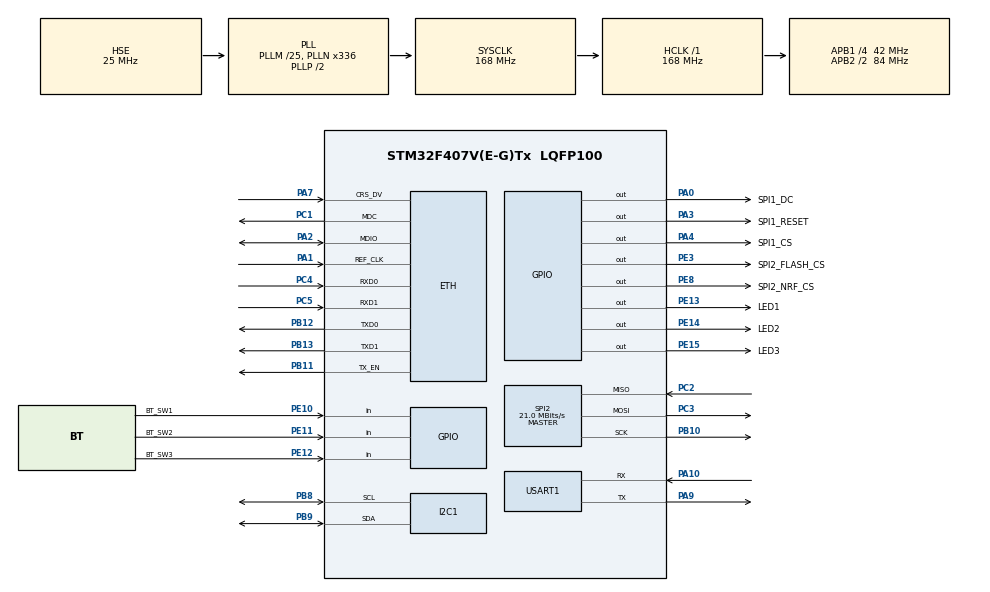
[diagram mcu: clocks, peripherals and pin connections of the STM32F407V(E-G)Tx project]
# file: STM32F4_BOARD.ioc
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ETH.MACAddr=02\:00\:00\:A1\:B2\:C3
ETH.MediaInterface=HAL_ETH_RMII_MODE
FREERTOS.Queues01=menuQueue,6,MenuData_t,0,Dynamic,NULL,NULL
FREERTOS.Tasks01=ethernetStatusT,0,1024,EthernetStatusTask,Default,NULL,Dynamic,NULL,NULL;buttonsTask,-1,1024,ButtonsTask,Default,NULL,Dynamic,NULL,NULL;ledsTask,-3,512,LedsTask,Default,operationMode,Dynamic,NULL,NULL
FREERTOS.configTOTAL_HEAP_SIZE=45000
FREERTOS.configUSE_NEWLIB_REENTRANT=1
FREERTOS.configUSE_TIMERS=1
I2C1.I2C_Mode=I2C_Fast
LWIP.BSP.number=1
LWIP.GATEWAY_ADDRESS=192.168.002.001
LWIP.IP_ADDRESS=192.168.002.125
LWIP.LWIP_DHCP=0
LWIP.LWIP_DNS=1
LWIP.LWIP_SMTP=0
LWIP.LWIP_SNTP=0
LWIP.LWIP_SO_RCVTIMEO=1
LWIP.LWIP_SO_SNDRCVTIMEO_NONSTANDARD=0
LWIP.LWIP_TCP_KEEPALIVE=1
LWIP.LWIP_UDP=1
LWIP.MEMP_NUM_TCP_PCB=6
LWIP.MEMP_NUM_UDP_PCB=6
LWIP.MEM_SIZE=2048
LWIP.NETMASK_ADDRESS=255.255.255.000
LWIP.SO_REUSE=1
LWIP.Version=v2.1.2_Cube
LWIP0.BSP.STBoard=false
LWIP0.BSP.api=BSP_COMPONENT_DRIVER
LWIP0.BSP.component=DP83848
LWIP0.BSP.instance=DP83848
LWIP0.BSP.name=Driver_PHY
LWIP0.BSP.semaphore=S_DP83848
LWIP0.BSP.solution=DP83848
Mcu.Family=STM32F4
Mcu.Name=STM32F407V(E-G)Tx
Mcu.Package=LQFP100
NVIC.ETH_IRQn=true\:5\:0\:false\:false\:true\:true\:true\:true\:true
NVIC.PriorityGroup=NVIC_PRIORITYGROUP_4
NVIC.TIM8_TRG_COM_TIM14_IRQn=true\:15\:0\:false\:false\:true\:false\:false\:true\:true
NVIC.TimeBase=TIM8_TRG_COM_TIM14_IRQn
NVIC.TimeBaseIP=TIM14
PA0-WKUP.GPIO_Label=SPI1_DC
PA0-WKUP.Signal=GPIO_Output
PA1.Mode=RMII
PA1.Signal=ETH_REF_CLK
PA10.Mode=Asynchronous
PA10.Signal=USART1_RX
PA2.Mode=RMII
PA2.Signal=ETH_MDIO
PA3.GPIO_Label=SPI1_RESET
PA3.Signal=GPIO_Output
PA4.GPIO_Label=SPI1_CS
PA4.Signal=GPIO_Output
PA7.Mode=RMII
PA7.Signal=ETH_CRS_DV
PA9.Mode=Asynchronous
PA9.Signal=USART1_TX
PB10.Mode=Full_Duplex_Master
PB10.Signal=SPI2_SCK
PB11.Mode=RMII
PB11.Signal=ETH_TX_EN
PB12.Mode=RMII
PB12.Signal=ETH_TXD0
PB13.Mode=RMII
PB13.Signal=ETH_TXD1
PB8.Mode=I2C
PB8.Signal=I2C1_SCL
PB9.Mode=I2C
PB9.Signal=I2C1_SDA
PC1.Mode=RMII
PC1.Signal=ETH_MDC
PC14-OSC32_IN.Mode=LSE-External-Oscillator
PC14-OSC32_IN.Signal=RCC_OSC32_IN
PC15-OSC32_OUT.Mode=LSE-External-Oscillator
PC15-OSC32_OUT.Signal=RCC_OSC32_OUT
PC2.Mode=Full_Duplex_Master
PC2.Signal=SPI2_MISO
PC3.Mode=Full_Duplex_Master
PC3.Signal=SPI2_MOSI
PC4.Mode=RMII
PC4.Signal=ETH_RXD0
PC5.Mode=RMII
PC5.Signal=ETH_RXD1
PE10.GPIO_Label=BT_SW1
PE10.Signal=GPIO_Input
PE11.GPIO_Label=BT_SW2
PE11.Signal=GPIO_Input
PE12.GPIO_Label=BT_SW3
PE12.Signal=GPIO_Input
PE13.GPIO_Label=LED1
PE13.PinState=GPIO_PIN_SET
PE13.Signal=GPIO_Output
PE14.GPIO_Label=LED2
PE14.PinState=GPIO_PIN_SET
PE14.Signal=GPIO_Output
PE15.GPIO_Label=LED3
PE15.PinState=GPIO_PIN_SET
PE15.Signal=GPIO_Output
PE3.GPIO_Label=SPI2_FLASH_CS
PE3.Signal=GPIO_Output
PE8.GPIO_Label=SPI2_NRF_CS
PE8.Signal=GPIO_Output
PH0-OSC_IN.Mode=HSE-External-Oscillator
PH0-OSC_IN.Signal=RCC_OSC_IN
PH1-OSC_OUT.Mode=HSE-External-Oscillator
PH1-OSC_OUT.Signal=RCC_OSC_OUT
ProjectManager.HeapSize=0x200
ProjectManager.StackSize=0x400
ProjectManager.TargetToolchain=STM32CubeIDE
RCC.48MHZClocksFreq_Value=84000000
RCC.AHBFreq_Value=168000000
RCC.APB1CLKDivider=RCC_HCLK_DIV4
RCC.APB1Freq_Value=42000000
RCC.APB1TimFreq_Value=84000000
RCC.APB2CLKDivider=RCC_HCLK_DIV2
RCC.APB2Freq_Value=84000000
RCC.APB2TimFreq_Value=168000000
RCC.CortexFreq_Value=168000000
RCC.HCLKFreq_Value=168000000
RCC.HSE_VALUE=25000000
RCC.HSI_VALUE=16000000
RCC.PLLM=25
RCC.PLLN=336
RCC.PLLSourceVirtual=RCC_PLLSOURCE_HSE
RCC.RCC_RTC_Clock_Source=RCC_RTCCLKSOURCE_LSE
RCC.SYSCLKFreq_VALUE=168000000
RCC.SYSCLKSource=RCC_SYSCLKSOURCE_PLLCLK
RCC.VCOOutputFreq_Value=336000000
SPI2.BaudRatePrescaler=SPI_BAUDRATEPRESCALER_2
SPI2.CalculateBaudRate=21.0 MBits/s
SPI2.Direction=SPI_DIRECTION_2LINES
SPI2.Mode=SPI_MODE_MASTER
SPI2.VirtualType=VM_MASTER
USART1.VirtualMode=VM_ASYNC
VP_FREERTOS_VS_CMSIS_V1.Mode=CMSIS_V1
VP_LWIP_VS_Enabled.Mode=Enabled
VP_RTC_VS_RTC_Activate.Mode=RTC_Enabled
VP_SYS_VS_tim14.Mode=TIM14
board=custom

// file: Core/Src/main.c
/* USER CODE BEGIN Header */
/**
  ******************************************************************************
  * @file           : main.c
  * @brief          : Main program body
  ******************************************************************************
  * @attention
  *
  * Copyright (c) 2024 STMicroelectronics.
  * All rights reserved.
  *
  * This software is licensed under terms that can be found in the LICENSE file
  * in the root directory of this software component.
  * If no LICENSE file comes with this software, it is provided AS-IS.
  *
  ******************************************************************************
  */
/* USER CODE END Header */
#include "main.h"
#include "cmsis_os.h"
#include "i2c.h"
#include "lwip.h"
#include "rtc.h"
#include "spi.h"
#include "usart.h"
#include "gpio.h"

/* USER CODE BEGIN Includes */
#include "FileSystemAPI.h"
#include "lfs_w25qflash.h"
#include "modbus_server.h"
#include "cfg_files.h"
#include "ssd1306.h"
#include "AdapterSSD1306.h"
#include "logger.h"
#include "sntp_client.h"
#include "datetime.h"

/* USER CODE END Includes */

/* USER CODE BEGIN PV */
TOperationMode operationMode = {0};

uint16_t initTimeou = 0;

/* USER CODE END PV */

void SystemClock_Config(void);
void MX_FREERTOS_Init(void);

int main(void)
{

  /* MCU Configuration----
   * ----------------------------------------------------*/

  /* Reset of all peripherals, Initializes the Flash interface and the Systick. */
  HAL_Init();

  /* Configure the system clock */
  SystemClock_Config();

  /* Initialize all configured peripherals */
  MX_GPIO_Init();
  MX_SPI2_Init();
  MX_USART1_UART_Init();
  MX_I2C1_Init();
  MX_RTC_Init();

  /* USER CODE BEGIN 2 */
  HorusIhmInit();
  FileSystemInit();
  CfgFilesInit();
  Log_initModule(DateTimeGetString);
  ModbusInit();
  AdapterSSD1306_Init();
  SntpClientInit();

  /* USER CODE END 2 */

  /* Call init function for freertos objects (in freertos.c) */
  MX_FREERTOS_Init();

  /* Start scheduler */
  osKernelStart();

  /* We should never get here as control is now taken by the scheduler */
  /* Infinite loop */
  while (1)
  {

  }
}

void SystemClock_Config(void)
{
  RCC_OscInitTypeDef RCC_OscInitStruct = {0};
  RCC_ClkInitTypeDef RCC_ClkInitStruct = {0};

  /** Configure the main internal regulator output voltage
  */
  __HAL_RCC_PWR_CLK_ENABLE();
  __HAL_PWR_VOLTAGESCALING_CONFIG(PWR_REGULATOR_VOLTAGE_SCALE1);

  /** Initializes the RCC Oscillators according to the specified parameters
  * in the RCC_OscInitTypeDef structure.
  */
  RCC_OscInitStruct.OscillatorType = RCC_OSCILLATORTYPE_HSE|RCC_OSCILLATORTYPE_LSE;
  RCC_OscInitStruct.HSEState = RCC_HSE_ON;
  RCC_OscInitStruct.LSEState = RCC_LSE_ON;
  RCC_OscInitStruct.PLL.PLLState = RCC_PLL_ON;
  RCC_OscInitStruct.PLL.PLLSource = RCC_PLLSOURCE_HSE;
  RCC_OscInitStruct.PLL.PLLM = 25;
  RCC_OscInitStruct.PLL.PLLN = 336;
  RCC_OscInitStruct.PLL.PLLP = RCC_PLLP_DIV2;
  RCC_OscInitStruct.PLL.PLLQ = 4;
  if (HAL_RCC_OscConfig(&RCC_OscInitStruct) != HAL_OK)
  {
    Error_Handler();
  }

  /** Initializes the CPU, AHB and APB buses clocks
  */
  RCC_ClkInitStruct.ClockType = RCC_CLOCKTYPE_HCLK|RCC_CLOCKTYPE_SYSCLK
                              |RCC_CLOCKTYPE_PCLK1|RCC_CLOCKTYPE_PCLK2;
  RCC_ClkInitStruct.SYSCLKSource = RCC_SYSCLKSOURCE_PLLCLK;
  RCC_ClkInitStruct.AHBCLKDivider = RCC_SYSCLK_DIV1;
  RCC_ClkInitStruct.APB1CLKDivider = RCC_HCLK_DIV4;
  RCC_ClkInitStruct.APB2CLKDivider = RCC_HCLK_DIV2;

  if (HAL_RCC_ClockConfig(&RCC_ClkInitStruct, FLASH_LATENCY_5) != HAL_OK)
  {
    Error_Handler();
  }
}

/* USER CODE BEGIN 4 */

int __io_putchar(int ch)
{
//	return ITM_SendChar(ch);
  unsigned char byte = ch;
  if (HAL_UART_Transmit(&huart1, &byte, 1, 100) != HAL_OK)
  {

    return 0;
  }
  return ch;
}

void HorusOperationMode(TOperationMode operationMode)
{
  switch (operationMode)
  {
  case NET_MODE:

	break;

  case CFG_MODE:

	ModbusServerInit();

	break;

  case BOOT_MODE:

	break;

  default:

	break;
  }

}

void HorusIhmInit()
{

  while (initTimeou < 100)
  {
	HAL_GPIO_TogglePin(LED3_GPIO_Port, LED3_Pin);
	HAL_Delay(30);
	initTimeou++;
  }

  HAL_GPIO_WritePin(LED1_GPIO_Port, LED1_Pin, RESET);
  HAL_GPIO_WritePin(LED2_GPIO_Port, LED2_Pin, RESET);
  HAL_GPIO_WritePin(LED3_GPIO_Port, LED3_Pin, RESET);

  initTimeou = 0;

  while (initTimeou < 20)
  {

	if (HAL_GPIO_ReadPin(BT_SW3_GPIO_Port, BT_SW3_Pin) == 0)
	{
	  operationMode = NET_MODE;

	  break;
	}

	if (HAL_GPIO_ReadPin(BT_SW2_GPIO_Port, BT_SW2_Pin) == 0)
	{
	  operationMode = CFG_MODE;

	  break;

	}

	if (HAL_GPIO_ReadPin(BT_SW1_GPIO_Port, BT_SW1_Pin) == 0)
	{
	  operationMode = BOOT_MODE;
	  break;
	}

	initTimeou++;
	HAL_Delay(100);
  }

  HAL_GPIO_WritePin(LED1_GPIO_Port, LED1_Pin, SET);
  HAL_GPIO_WritePin(LED2_GPIO_Port, LED2_Pin, SET);
  HAL_GPIO_WritePin(LED3_GPIO_Port, LED3_Pin, SET);

}

/* USER CODE END 4 */

void HAL_TIM_PeriodElapsedCallback(TIM_HandleTypeDef *htim)
{
  if (htim->Instance == TIM14) {
    HAL_IncTick();
  }
}

void Error_Handler(void)
{
  __disable_irq();
  while (1)
  {
  }
}

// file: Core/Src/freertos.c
/* USER CODE BEGIN Header */
/**
  ******************************************************************************
  * File Name          : freertos.c
  * Description        : Code for freertos applications
  ******************************************************************************
  * @attention
  *
  * Copyright (c) 2024 STMicroelectronics.
  * All rights reserved.
  *
  * This software is licensed under terms that can be found in the LICENSE file
  * in the root directory of this software component.
  * If no LICENSE file comes with this software, it is provided AS-IS.
  *
  ******************************************************************************
  */
/* USER CODE END Header */

#include "FreeRTOS.h"
#include "task.h"
#include "main.h"
#include "cmsis_os.h"

/* USER CODE BEGIN Includes */
/* ------------------------ lwIP includes --------------------------------- */
#include "api.h"
#include "sockets.h"
#include "stdbool.h"
#include "ssd1306.h"
#include "AdapterSSD1306.h"
#include "modbus_server.h"
#include "logger.h"
/* USER CODE END Includes */

/* USER CODE BEGIN PTD */
extern TOperationMode operationMode;
/* USER CODE END PTD */

/* USER CODE BEGIN Variables */

extern struct netif gnetif;
/* USER CODE END Variables */
osThreadId ethernetStatusTHandle;
osThreadId buttonsTaskHandle;
osThreadId ledsTaskHandle;
osMessageQId menuQueueHandle;

void EthernetStatusTask(void const * argument);
void ButtonsTask(void const * argument);
void LedsTask(void const * argument);

extern void MX_LWIP_Init(void);
void MX_FREERTOS_Init(void); /* (MISRA C 2004 rule 8.1) */

/* GetIdleTaskMemory prototype (linked to static allocation support) */
void vApplicationGetIdleTaskMemory( StaticTask_t **ppxIdleTaskTCBBuffer, StackType_t **ppxIdleTaskStackBuffer, uint32_t *pulIdleTaskStackSize );

/* GetTimerTaskMemory prototype (linked to static allocation support) */
void vApplicationGetTimerTaskMemory( StaticTask_t **ppxTimerTaskTCBBuffer, StackType_t **ppxTimerTaskStackBuffer, uint32_t *pulTimerTaskStackSize );

/* USER CODE BEGIN GET_IDLE_TASK_MEMORY */
static StaticTask_t xIdleTaskTCBBuffer;
static StackType_t xIdleStack[configMINIMAL_STACK_SIZE];

void vApplicationGetIdleTaskMemory( StaticTask_t **ppxIdleTaskTCBBuffer, StackType_t **ppxIdleTaskStackBuffer, uint32_t *pulIdleTaskStackSize )
{
  *ppxIdleTaskTCBBuffer = &xIdleTaskTCBBuffer;
  *ppxIdleTaskStackBuffer = &xIdleStack[0];
  *pulIdleTaskStackSize = configMINIMAL_STACK_SIZE;
  /* place for user code */
}
/* USER CODE END GET_IDLE_TASK_MEMORY */

/* USER CODE BEGIN GET_TIMER_TASK_MEMORY */
static StaticTask_t xTimerTaskTCBBuffer;
static StackType_t xTimerStack[configTIMER_TASK_STACK_DEPTH];

void vApplicationGetTimerTaskMemory( StaticTask_t **ppxTimerTaskTCBBuffer, StackType_t **ppxTimerTaskStackBuffer, uint32_t *pulTimerTaskStackSize )
{
  *ppxTimerTaskTCBBuffer = &xTimerTaskTCBBuffer;
  *ppxTimerTaskStackBuffer = &xTimerStack[0];
  *pulTimerTaskStackSize = configTIMER_TASK_STACK_DEPTH;
  /* place for user code */
}
/* USER CODE END GET_TIMER_TASK_MEMORY */

void MX_FREERTOS_Init(void) {

  /* Create the queue(s) */
  /* definition and creation of menuQueue */
  osMessageQDef(menuQueue, 6, MenuData_t);
  menuQueueHandle = osMessageCreate(osMessageQ(menuQueue), NULL);

  /* Create the thread(s) */
  /* definition and creation of ethernetStatusT */
  osThreadDef(ethernetStatusT, EthernetStatusTask, osPriorityNormal, 0, 1024);
  ethernetStatusTHandle = osThreadCreate(osThread(ethernetStatusT), NULL);

  /* definition and creation of buttonsTask */
  osThreadDef(buttonsTask, ButtonsTask, osPriorityBelowNormal, 0, 1024);
  buttonsTaskHandle = osThreadCreate(osThread(buttonsTask), NULL);

  /* definition and creation of ledsTask */
  osThreadDef(ledsTask, LedsTask, osPriorityIdle, 0, 512);
  ledsTaskHandle = osThreadCreate(osThread(ledsTask), (void*) operationMode);

  /* USER CODE BEGIN RTOS_THREADS */
  /* add threads, ... */

  HorusOperationMode(operationMode);

  /* USER CODE END RTOS_THREADS */

}

void EthernetStatusTask(void const * argument)
{
  /* init code for LWIP */
  MX_LWIP_Init();
  /* USER CODE BEGIN EthernetStatusTask */
	MenuData_t menu_data = {0};
	char ipad[21] = {0};
	char mask[21] = {0};
	char gway[21] = {0};

	/* Infinite loop */
	for (;;)
	{
		if (netif_is_up(&gnetif))
		{
			sprintf(ipad, "IPAD:%s", ip4addr_ntoa(netif_ip4_addr(&gnetif)));
			sprintf(mask, "MASK:%s", ip4addr_ntoa(netif_ip4_netmask(&gnetif)));
			sprintf(gway, "GWAY:%s", ip4addr_ntoa(netif_ip4_gw(&gnetif)));

			if (strcmp(menu_data.items[PAGE_0][LINE_0], ipad) != 0 ||
				strcmp(menu_data.items[PAGE_0][LINE_1], mask) != 0 ||
				strcmp(menu_data.items[PAGE_0][LINE_2], gway) != 0)
			{
				strcpy(menu_data.items[PAGE_0][LINE_0], ipad);
				strcpy(menu_data.items[PAGE_0][LINE_1], mask);
				strcpy(menu_data.items[PAGE_0][LINE_2], gway);
				AdapterSSD1306_SendDataToMenuQueueUpdate(&menu_data);
				osDelay(100);
			}
		}

		osDelay(100);
	}
  /* USER CODE END EthernetStatusTask */
}

void ButtonsTask(void const * argument)
{
  /* USER CODE BEGIN ButtonsTask */
	/* Infinite loop */

	bool activeDarkMode = false;
	for (;;)
	{
		if (HAL_GPIO_ReadPin(BT_SW1_GPIO_Port, BT_SW1_Pin) == RESET)
		{

			AdapterSSD1306_NextPage();
			HAL_GPIO_TogglePin(LED1_GPIO_Port, LED1_Pin);

			osDelay(250);
		}

		if (HAL_GPIO_ReadPin(BT_SW2_GPIO_Port, BT_SW2_Pin) == RESET)
		{

			AdapterSSD1306_PreviousPage();
			HAL_GPIO_TogglePin(LED2_GPIO_Port, LED2_Pin);

			osDelay(250);
		}

		if (HAL_GPIO_ReadPin(BT_SW3_GPIO_Port, BT_SW3_Pin) == RESET)
		{

			if (activeDarkMode)
			{
				AdapterSSD1306_DarkMode(activeDarkMode);
				activeDarkMode = false;

			}
			else
			{
				AdapterSSD1306_DarkMode(activeDarkMode);
				activeDarkMode = true;

			}

		    HAL_GPIO_TogglePin(LED2_GPIO_Port, LED3_Pin);
			osDelay(250);
		}

		osDelay(10);
	}
  /* USER CODE END ButtonsTask */
}

void LedsTask(void const * argument)
{
  /* USER CODE BEGIN LedsTask */

  /* Infinite loop */

  TOperationMode operationMode = (TOperationMode) argument;

  for (;;)
  {

	switch (operationMode)
	{
	case NET_MODE:
	  HAL_GPIO_TogglePin(LED3_GPIO_Port, LED3_Pin);
	  osDelay(1000);
	  break;

	case CFG_MODE:
	  for (int i = 0; i < 2; i++)
	  {
		HAL_GPIO_WritePin(LED3_GPIO_Port, LED3_Pin, RESET);
		osDelay(250);
		HAL_GPIO_WritePin(LED3_GPIO_Port, LED3_Pin, SET);
		osDelay(250);
	  }
	  osDelay(1000);
	  break;

	case BOOT_MODE:

	  for (int i = 0; i < 3; i++)
	  {
		HAL_GPIO_WritePin(LED3_GPIO_Port, LED3_Pin, RESET);
		osDelay(250);
		HAL_GPIO_WritePin(LED3_GPIO_Port, LED3_Pin, SET);
		osDelay(250);
	  }
	  osDelay(1000);
	  break;

	default:

	  break;
	}
  }

  /* USER CODE END LedsTask */
}
